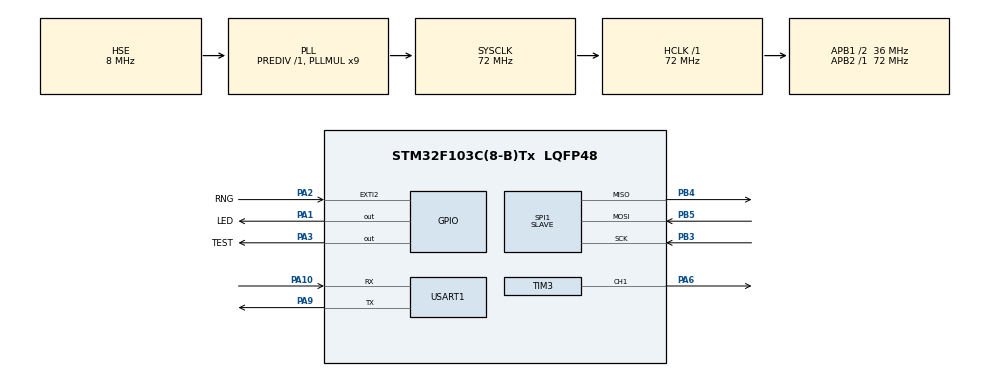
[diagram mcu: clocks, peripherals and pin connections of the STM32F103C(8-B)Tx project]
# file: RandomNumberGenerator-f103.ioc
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Mcu.Family=STM32F1
Mcu.Name=STM32F103C(8-B)Tx
Mcu.Package=LQFP48
NVIC.EXTI2_IRQn=true\:0\:0\:false\:false\:true\:true\:true\:true
NVIC.PriorityGroup=NVIC_PRIORITYGROUP_4
PA1.GPIO_Label=LED
PA1.GPIO_ModeDefaultOutputPP=GPIO_MODE_OUTPUT_OD
PA1.GPIO_PuPd=GPIO_NOPULL
PA1.Signal=GPIO_Output
PA10.Mode=Asynchronous
PA10.Signal=USART1_RX
PA13.Mode=Serial_Wire
PA13.Signal=SYS_JTMS-SWDIO
PA14.Mode=Serial_Wire
PA14.Signal=SYS_JTCK-SWCLK
PA2.GPIO_Label=RNG
PA2.GPIO_ModeDefaultEXTI=GPIO_MODE_IT_FALLING
PA2.GPIO_PuPd=GPIO_PULLDOWN
PA2.Signal=GPXTI2
PA3.GPIO_Label=TEST
PA3.GPIO_Speed=GPIO_SPEED_FREQ_HIGH
PA3.Signal=GPIO_Output
PA6.Signal=S_TIM3_CH1
PA9.Mode=Asynchronous
PA9.Signal=USART1_TX
PB3.Mode=Full_Duplex_Slave
PB3.Signal=SPI1_SCK
PB4.Mode=Full_Duplex_Slave
PB4.Signal=SPI1_MISO
PB5.Mode=Full_Duplex_Slave
PB5.Signal=SPI1_MOSI
PD0-OSC_IN.Mode=HSE-External-Oscillator
PD0-OSC_IN.Signal=RCC_OSC_IN
PD1-OSC_OUT.Mode=HSE-External-Oscillator
PD1-OSC_OUT.Signal=RCC_OSC_OUT
ProjectManager.HeapSize=0x200
ProjectManager.StackSize=0x400
ProjectManager.TargetToolchain=STM32CubeIDE
RCC.AHBFreq_Value=72000000
RCC.APB1CLKDivider=RCC_HCLK_DIV2
RCC.APB1Freq_Value=36000000
RCC.APB1TimFreq_Value=72000000
RCC.APB2Freq_Value=72000000
RCC.APB2TimFreq_Value=72000000
RCC.HCLKFreq_Value=72000000
RCC.PLLMUL=RCC_PLL_MUL9
RCC.PLLSourceVirtual=RCC_PLLSOURCE_HSE
RCC.SYSCLKFreq_VALUE=72000000
RCC.SYSCLKSource=RCC_SYSCLKSOURCE_PLLCLK
RCC.USBFreq_Value=72000000
SH.S_TIM3_CH1.0=TIM3_CH1,PWM Generation1 CH1
SPI1.Direction=SPI_DIRECTION_2LINES
SPI1.Mode=SPI_MODE_SLAVE
SPI1.VirtualType=VM_SLAVE
TIM3.Channel-PWM\ Generation1\ CH1=TIM_CHANNEL_1
TIM3.Period=100
TIM3.Prescaler=0
TIM3.Pulse-PWM\ Generation1\ CH1=50
USART1.VirtualMode=VM_ASYNC
VP_TIM3_VS_ClockSourceINT.Mode=Internal
VP_TIM4_VS_ClockSourceINT.Mode=Internal
board=custom

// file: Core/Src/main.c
/* USER CODE BEGIN Header */
/**
  ******************************************************************************
  * @file           : main.c
  * @brief          : Main program body
  ******************************************************************************
  * @attention
  *
  * Copyright (c) 2022 STMicroelectronics.
  * All rights reserved.
  *
  * This software is licensed under terms that can be found in the LICENSE file
  * in the root directory of this software component.
  * If no LICENSE file comes with this software, it is provided AS-IS.
  *
  ******************************************************************************
  */
/* USER CODE END Header */
#include "main.h"
#include "spi.h"
#include "tim.h"
#include "usart.h"
#include "gpio.h"

/* USER CODE BEGIN Includes */
	#include <stdio.h>
	#include <string.h>
	#include <stdlib.h>
/* USER CODE END Includes */

/* USER CODE BEGIN PV */

	char DataChar[0xFF];
	volatile uint32_t circle_cnt = 0;
	//volatile uint32_t tmr_value[35] ;
	//volatile uint32_t tmr_value[67] ;
	volatile uint32_t tmr_value[CRC_SIZE+3] ;
	uint8_t	bit[CRC_SIZE+3] = { 0};
	uint32_t suma_bit = 0;

	int offset	=	45;
	uint32_t	offset_counter = 0;
	uint32_t 	offset_res = 45 ;
	uint32_t	offset_array[128] ={45};
	uint32_t 	total_cnt = 0;

/* USER CODE END PV */

void SystemClock_Config(void);

int main(void)
{

  /* MCU Configuration--------------------------------------------------------*/

  /* Reset of all peripherals, Initializes the Flash interface and the Systick. */
  HAL_Init();

  /* Configure the system clock */
  SystemClock_Config();

  /* Initialize all configured peripherals */
  MX_GPIO_Init();
  MX_USART1_UART_Init();
  MX_TIM3_Init();
  MX_SPI1_Init();
  MX_TIM4_Init();
  /* USER CODE BEGIN 2 */

	#define	SOFT_VERSION 100

//  int soft_version_arr_int[3];
//  	soft_version_arr_int[0] = ((SOFT_VERSION) / 1000) %10  ;
//  	soft_version_arr_int[1] = ((SOFT_VERSION) /   10) %100 ;
//  	soft_version_arr_int[2] = ((SOFT_VERSION)       ) %10  ;
//
//  	sprintf(DataChar,"\r\n\r\n\tLoRa-Contact-f103 over sx1278 v%d.%02d.%d \r\n",
//  			soft_version_arr_int[0] ,
//  			soft_version_arr_int[1] ,
//  			soft_version_arr_int[2] ) ;
//  	HAL_UART_Transmit(&huart1, (uint8_t *)DataChar, strlen(DataChar), 100);
  	#define 	DATE_as_int_str 	(__DATE__)
  	#define 	TIME_as_int_str 	(__TIME__)
  	sprintf(DataChar,"\tBuild: %s. Time: %s.\r\n" ,
  			DATE_as_int_str ,
  			TIME_as_int_str ) ;
  	HAL_UART_Transmit( &huart1, (uint8_t *)DataChar , strlen(DataChar) , 100 ) ;
  	HAL_Delay(500);
  	HAL_TIM_Base_Start(&htim3);
  	HAL_TIM_PWM_Start_IT(&htim3, TIM_CHANNEL_1);	//HAL_TIM_ACTIVE_CHANNEL_1
  	HAL_TIM_Base_Start(&htim4);

  	uint32_t zero = 0;
  	uint32_t odin = 0;

  /* USER CODE END 2 */

  /* Infinite loop */
  /* USER CODE BEGIN WHILE */
  while (1)
  {
					  //uint8_t spi_data[16] = {0};
					 // HAL_SPI_Receive(&hspi1, spi_data, 16, 1000);
	  uint32_t t_min = 300;

  if ( circle_cnt > CRC_SIZE) {
		for (int y=0; y<CRC_SIZE; y++) {
			if 	( tmr_value[y+1] < t_min) {
				t_min = tmr_value[y+1];
			}
		}

		for (int y=0; y<CRC_SIZE; y++) {
			if (tmr_value[y+1] > t_min) {
				bit[y] = 1;
			} else {
				bit[y] = 0;
			}
		}
		circle_cnt = 0;

		suma_bit = 0;
		 for (int k=0; k<CRC_SIZE; k++) {
			 suma_bit = suma_bit + bit[k];
		 }

//		sprintf(DataChar,"   %d", (int)suma_bit);
//		HAL_UART_Transmit(&huart1, (uint8_t *)DataChar, strlen(DataChar), 100);

		 if ( suma_bit > offset_res) {
			 odin++;
		 } else {
			 zero++;
		 }

		 uint32_t promile = (odin*1000) / (odin+zero);
		 if ( promile > 500) {
			 offset++;
		 }
		 if ( promile < 500) {
			 offset--;
		 }

//		 if (offset < 17) {
//			 offset = 17 ;
//		 }
//
//		 if (offset > 25) {
//			 offset = 25;
//		 }

		 if (offset < 34) {
			 offset = 34 ;
		 }

		 if (offset > 52) {
			 offset = 52;
		 }

		offset_array[offset_counter] = offset;
		if (offset_counter < 128) {
			offset_counter++;
		} else {
			offset_counter = 0;
		}

		uint32_t	offset_summa = 0 ;
		for (int i=0; i<128; i++) {
			offset_summa = offset_summa + offset_array[i];
		}
		offset_res = offset_summa/128 ;

		if (offset_counter == 1) {
		  sprintf(DataChar,"\t%03lu %03lu  %02lu\t%d %lu\r\n",  zero, odin, promile, offset, offset_res );
		  HAL_UART_Transmit(&huart1, (uint8_t *)DataChar, strlen(DataChar), 100);
		}
	} // main if

    /* USER CODE END WHILE */

  }
}

void SystemClock_Config(void)
{
  RCC_OscInitTypeDef RCC_OscInitStruct = {0};
  RCC_ClkInitTypeDef RCC_ClkInitStruct = {0};

  /** Initializes the RCC Oscillators according to the specified parameters
  * in the RCC_OscInitTypeDef structure.
  */
  RCC_OscInitStruct.OscillatorType = RCC_OSCILLATORTYPE_HSE;
  RCC_OscInitStruct.HSEState = RCC_HSE_ON;
  RCC_OscInitStruct.HSEPredivValue = RCC_HSE_PREDIV_DIV1;
  RCC_OscInitStruct.HSIState = RCC_HSI_ON;
  RCC_OscInitStruct.PLL.PLLState = RCC_PLL_ON;
  RCC_OscInitStruct.PLL.PLLSource = RCC_PLLSOURCE_HSE;
  RCC_OscInitStruct.PLL.PLLMUL = RCC_PLL_MUL9;
  if (HAL_RCC_OscConfig(&RCC_OscInitStruct) != HAL_OK)
  {
    Error_Handler();
  }

  /** Initializes the CPU, AHB and APB buses clocks
  */
  RCC_ClkInitStruct.ClockType = RCC_CLOCKTYPE_HCLK|RCC_CLOCKTYPE_SYSCLK
                              |RCC_CLOCKTYPE_PCLK1|RCC_CLOCKTYPE_PCLK2;
  RCC_ClkInitStruct.SYSCLKSource = RCC_SYSCLKSOURCE_PLLCLK;
  RCC_ClkInitStruct.AHBCLKDivider = RCC_SYSCLK_DIV1;
  RCC_ClkInitStruct.APB1CLKDivider = RCC_HCLK_DIV2;
  RCC_ClkInitStruct.APB2CLKDivider = RCC_HCLK_DIV1;

  if (HAL_RCC_ClockConfig(&RCC_ClkInitStruct, FLASH_LATENCY_2) != HAL_OK)
  {
    Error_Handler();
  }
}

void Error_Handler(void)
{
  __disable_irq();
  while (1)
  {
  }
}
